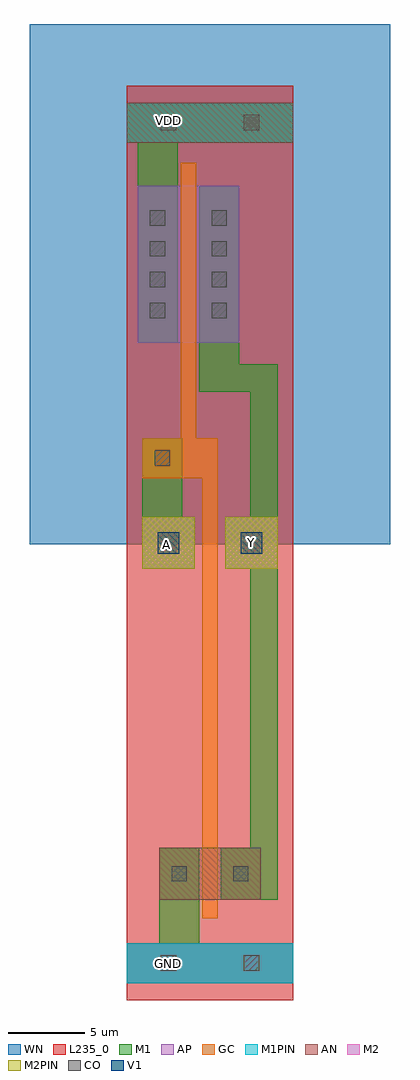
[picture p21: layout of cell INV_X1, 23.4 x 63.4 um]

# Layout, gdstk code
import gdstk
lib = gdstk.Library(unit=1e-6, precision=1e-09)
def R(c, l, rs):  # rectangles x0, y0, x1, y1
    for r in rs: c.add(gdstk.rectangle(r[:2], r[2:], *l))
def A(c, l, x, y, w, h, nx, ny, dx, dy):  # array of equal rectangles
    R(c, l, [(x+i*dx, y+j*dy, x+i*dx+w, y+j*dy+h) for i in range(nx) for j in range(ny)])
def P(c, l, *ps):  # polygons
    for p in ps: c.add(gdstk.Polygon(p, *l))
AP = (3, 1)
AN = (3, 2)
GC = (8, 1)
CO = (11, 0)
M1 = (13, 0)
V1 = (19, 0)
M2 = (20, 0)
M1PIN = (48, 1)
M2PIN = (49, 1)
WN = (140, 0)
L235_0 = (235, 0)

inv_x1 = lib.new_cell('INV_X1')
R(inv_x1, AP, [(0,1.1,10.8,3.7), (0.7,42.7,7.3,52.9)])
R(inv_x1, AN, [(2.1,6.5,8.7,9.9), (0,55.7,10.8,58.3)])
P(inv_x1, GC, [(4.9,5.3),(4.9,11.2),(4.9,33.9),(1,33.9),(1,36.5),(3.5,36.5),(3.5,54.4),(4.5,54.4),(4.5,36.5),(5.9,36.5),(5.9,12.2),(5.9,5.3)])
A(inv_x1, CO, 1.5, 44.3, 1, 1, 1, 4, 0, 2)
A(inv_x1, CO, 5.5, 44.3, 1, 1, 1, 4, 0, 2)
R(inv_x1, CO, [(2.2,1.9,3.2,2.9), (7.6,1.9,8.6,2.9), (7.6,1.9,8.6,2.9), (2.9,7.7,3.9,8.7), (6.9,7.7,7.9,8.7), (1.8,34.7,2.8,35.7), (2.2,56.5,3.2,57.5), (2.2,56.5,3.2,57.5), (7.6,56.5,8.6,57.5), (7.6,56.5,8.6,57.5), (7.6,56.5,8.6,57.5), (7.6,56.5,8.6,57.5)])
R(inv_x1, M1, [(2.1,3.7,4.7,9.9), (1,28,4.4,31.4), (1,28,4.4,31.4), (6.4,28,9.8,31.4), (1,31.4,3.6,36.5), (0.7,42.7,3.3,55.7), (0,55.7,10.8,58.3)])
P(inv_x1, M1, [(6.1,6.5),(6.1,9.9),(8,9.9),(8,28),(6.4,28),(6.4,31.4),(8,31.4),(8,39.5),(4.7,39.5),(4.7,52.9),(7.3,52.9),(7.3,41.3),(9.8,41.3),(9.8,6.5)],
  [(0,1.1),(0,3.7),(0.7,3.7),(3.3,3.7),(10.8,3.7),(10.8,1.1)])
R(inv_x1, V1, [(2,29,3.4,30.4), (7.4,29,8.8,30.4)])
R(inv_x1, M2, [(1,28,4.4,31.4), (6.4,28,9.8,31.4)])
R(inv_x1, M1PIN, [(0,1.1,10.8,3.7), (0,55.7,10.8,58.3)])
R(inv_x1, M2PIN, [(1,28,4.4,31.4), (6.4,28,9.8,31.4)])
R(inv_x1, WN, [(-6.3,29.6,17.1,63.4)])
R(inv_x1, L235_0, [(0,0,10.8,59.4)])
inv_x1.add(gdstk.Label('A', (2.6,29.6), layer=49, texttype=0))
inv_x1.add(gdstk.Label('Y', (8.1,29.7), layer=49, texttype=0))
inv_x1.add(gdstk.Label('GND', (2.7,2.4), layer=48, texttype=0))
inv_x1.add(gdstk.Label('VDD', (2.7,57.1), layer=48, texttype=0))

lib.write_gds('INV_X1.gds')
